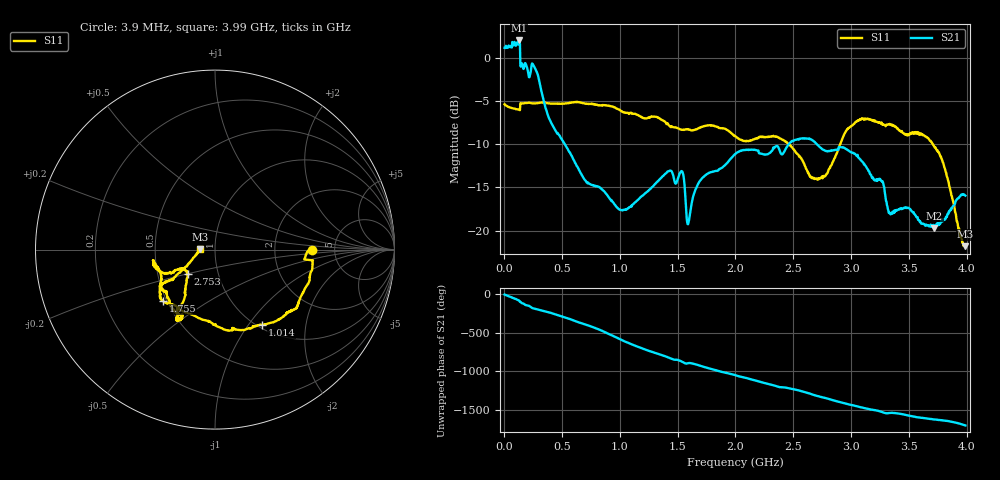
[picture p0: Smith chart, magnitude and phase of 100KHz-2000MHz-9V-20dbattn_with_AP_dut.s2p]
# HZ S RI R 50
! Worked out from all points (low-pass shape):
!   1023 points, 3.9 MHz to 3.99 GHz, reference 50 ohm
!   highest |S21| = 2.08 dB at 128.7 MHz (marker M1); lowest = -19.7 dB at 3.721 GHz (marker M2)
!   |S21| within 3 dB of the highest: start of sweep to 142.9 MHz; 236.1 MHz to 258.7 MHz (22.63 MHz wide, 9.15 % of centre)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
!   lowest |S11| = -21.8 dB at 3.99 GHz (marker M3), VSWR 1.18, Z = 42.5 + j0.241 ohm
!   |S11| at or under -10 dB: 2.465 GHz to 2.906 GHz (440.6 MHz wide, 16.4 % of centre); 3.709 GHz to end of sweep
!   S12 and S22 are empty: the file has one direction only
!   S11 on the Smith chart (normalised r, x): 3.9 MHz: 3.36, -0.01; 1.014 GHz: 1.05, -1.16; 1.755 GHz: 0.48, -0.33; 2.753 GHz: 0.72, -0.20; 3.99 GHz: 0.85, +0.00
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3900000  0.541 -0.000774  1.151 -0.0282  0 0  0 0
7.02e7  0.5133 -0.0133  0.8937 -0.8666  0 0  0 0
1.287e8  0.5019 -0.0457  0.2175 -1.252  0 0  0 0
1.716e8  0.5425 -0.0779  -0.4847 -0.7376  0 0  0 0
2.535e8  0.5313 -0.1343  -0.9116 0.0205  0 0  0 0
3.237e8  0.5269 -0.1723  -0.5569 0.3107  0 0  0 0
4.368e8  0.4962 -0.2278  -0.0983 0.3755  0 0  0 0
6.708e8  0.4372 -0.3362  0.203 -0.055  0 0  0 0
8.229e8  0.4026 -0.3505  -0.0213 -0.1776  0 0  0 0
1.014e9  0.2625 -0.4191  -0.0849 0.0998  0 0  0 0
1.3338e9  0.0594 -0.4475  0.1184 -0.1544  0 0  0 0
1.5366e9  -0.1293 -0.3624  -0.1948 -0.1046  0 0  0 0
1.5951e9  -0.199 -0.3315  -0.1102 -0.0181  0 0  0 0
1.755e9  -0.2906 -0.286  -0.1302 0.1686  0 0  0 0
1.9968e9  -0.3026 -0.1828  0.2311 0.1536  0 0  0 0
2.3361e9  -0.3407 -0.0878  -0.0614 -0.2958  0 0  0 0
2.6637e9  -0.1719 -0.1047  -0.2681 0.2011  0 0  0 0
2.7534e9  -0.1489 -0.135  -0.0751 0.2866  0 0  0 0
2.9796e9  -0.2095 -0.3335  0.2838 0.0657  0 0  0 0
3.3267e9  -0.199 -0.3618  -0.0222 -0.1247  0 0  0 0
3.7206e9  -0.2551 -0.1708  -0.1031 0.0063  0 0  0 0
3.9897e9  -0.0811 0.00281  -0.0256 0.1574  0 0  0 0
